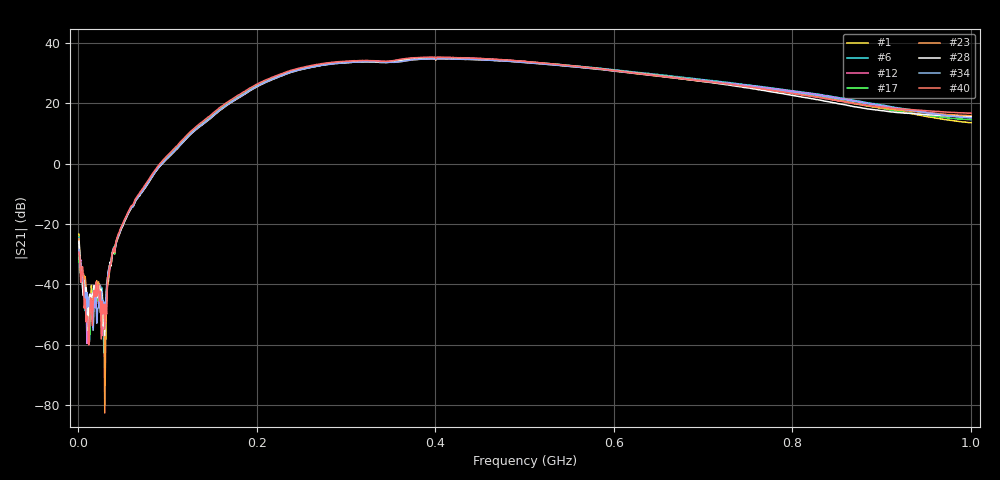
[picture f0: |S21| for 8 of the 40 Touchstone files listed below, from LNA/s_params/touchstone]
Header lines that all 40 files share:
! Created with skrf 1.9.0 (http://scikit-rf.org).
# Hz S RI R 50.0
!freq ReS11 ImS11 ReS21 ImS21 ReS12 ImS12 ReS22 ImS22
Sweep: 1 MHz to 1 GHz
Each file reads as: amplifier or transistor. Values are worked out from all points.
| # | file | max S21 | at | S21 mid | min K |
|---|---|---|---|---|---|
| 1 | LNA00352P2.s2p | 34.8 dB | 410.6 MHz | 34.1 dB at 477.5 MHz | -0.29 |
| 2 | LNA00353P1.s2p | 35.0 dB | 410.6 MHz | 33.9 dB at 500.5 MHz | 0.15 |
| 3 | LNA00353P2.s2p | 34.9 dB | 394.6 MHz | 33.6 dB at 500.5 MHz | -0.16 |
| 4 | LNA00354P1.s2p | 35.0 dB | 394.6 MHz | 33.9 dB at 500.5 MHz | -0.47 |
| 5 | LNA00354P2.s2p | 34.9 dB | 404.6 MHz | 33.8 dB at 500.5 MHz | -4.12 |
| 6 | LNA00355P1.s2p | 35.0 dB | 394.6 MHz | 33.8 dB at 500.5 MHz | -20.20 |
| 7 | LNA00355P2.s2p | 34.9 dB | 394.6 MHz | 33.7 dB at 500.5 MHz | -14.56 |
| 8 | LNA00356P1.s2p | 35.0 dB | 394.6 MHz | 33.7 dB at 500.5 MHz | -15.11 |
| 9 | LNA00356P2.s2p | 35.0 dB | 404.6 MHz | 33.8 dB at 500.5 MHz | -45.06 |
| 10 | LNA00357P1.s2p | 35.0 dB | 394.6 MHz | 33.8 dB at 500.5 MHz | -11.11 |
| 11 | LNA00357P2.s2p | 34.9 dB | 404.6 MHz | 33.6 dB at 500.5 MHz | -0.37 |
| 12 | LNA00358P1.s2p | 35.2 dB | 394.6 MHz | 33.9 dB at 500.5 MHz | -6.54 |
| 13 | LNA00358P2.s2p | 34.9 dB | 410.6 MHz | 33.8 dB at 500.5 MHz | -0.57 |
| 14 | LNA00359P1.s2p | 35.1 dB | 394.6 MHz | 33.8 dB at 500.5 MHz | -18.54 |
| 15 | LNA00359P2.s2p | 35.0 dB | 404.6 MHz | 33.8 dB at 500.5 MHz | -0.23 |
| 16 | LNA00360P1.s2p | 34.9 dB | 406.6 MHz | 33.7 dB at 500.5 MHz | -0.13 |
| 17 | LNA00360P2.s2p | 35.0 dB | 404.6 MHz | 33.8 dB at 500.5 MHz | -3.64 |
| 18 | LNA00361P1.s2p | 34.8 dB | 394.6 MHz | 33.6 dB at 500.5 MHz | -0.20 |
| 19 | LNA00361P2.s2p | 34.9 dB | 404.6 MHz | 33.7 dB at 500.5 MHz | -1.24 |
| 20 | LNA00362P1.s2p | 34.9 dB | 403.6 MHz | 33.8 dB at 500.5 MHz | -9.50 |
| 21 | LNA00362P2.s2p | 35.0 dB | 394.6 MHz | 33.5 dB at 500.5 MHz | -13.57 |
| 22 | LNA00363P1.s2p | 34.8 dB | 394.6 MHz | 33.5 dB at 500.5 MHz | -0.75 |
| 23 | LNA00363P2.s2p | 34.7 dB | 404.6 MHz | 33.6 dB at 500.5 MHz | -20.12 |
| 24 | LNA00364P1.s2p | 34.8 dB | 406.6 MHz | 33.6 dB at 500.5 MHz | -0.28 |
| 25 | LNA00364P2.s2p | 35.0 dB | 394.6 MHz | 33.8 dB at 500.5 MHz | -15.14 |
| 26 | LNA00365P1.s2p | 35.1 dB | 406.6 MHz | 33.8 dB at 500.5 MHz | -4.32 |
| 27 | LNA00365P2.s2p | 35.1 dB | 405.6 MHz | 34.0 dB at 500.5 MHz | -0.17 |
| 28 | LNA00366P1.s2p | 34.9 dB | 394.6 MHz | 33.7 dB at 500.5 MHz | -1.76 |
| 29 | LNA00366P2.s2p | 34.9 dB | 394.6 MHz | 33.8 dB at 500.5 MHz | -4.97 |
| 30 | LNA00367P1.s2p | 34.9 dB | 408.6 MHz | 33.6 dB at 500.5 MHz | -7.92 |
| 31 | LNA00367P2.s2p | 34.9 dB | 404.6 MHz | 33.7 dB at 500.5 MHz | -27.57 |
| 32 | LNA00368P1.s2p | 34.8 dB | 404.6 MHz | 33.6 dB at 500.5 MHz | -0.58 |
| 33 | LNA00368P2.s2p | 34.8 dB | 394.6 MHz | 33.5 dB at 500.5 MHz | -36.80 |
| 34 | LNA00369P1.s2p | 34.7 dB | 404.6 MHz | 33.5 dB at 500.5 MHz | -3.96 |
| 35 | LNA00369P2.s2p | 35.1 dB | 404.6 MHz | 33.9 dB at 500.5 MHz | -0.21 |
| 36 | LNA00370P1.s2p | 34.8 dB | 404.6 MHz | 33.6 dB at 500.5 MHz | -58.54 |
| 37 | LNA00370P2.s2p | 35.2 dB | 410.6 MHz | 34.0 dB at 500.5 MHz | -47.57 |
| 38 | LNA00371P1.s2p | 34.9 dB | 404.6 MHz | 33.7 dB at 500.5 MHz | -7.15 |
| 39 | LNA00371P2.s2p | 34.7 dB | 404.6 MHz | 33.5 dB at 500.5 MHz | -0.50 |
| 40 | LNA00372P1.s2p | 35.2 dB | 394.6 MHz | 33.9 dB at 500.5 MHz | -40.93 |
